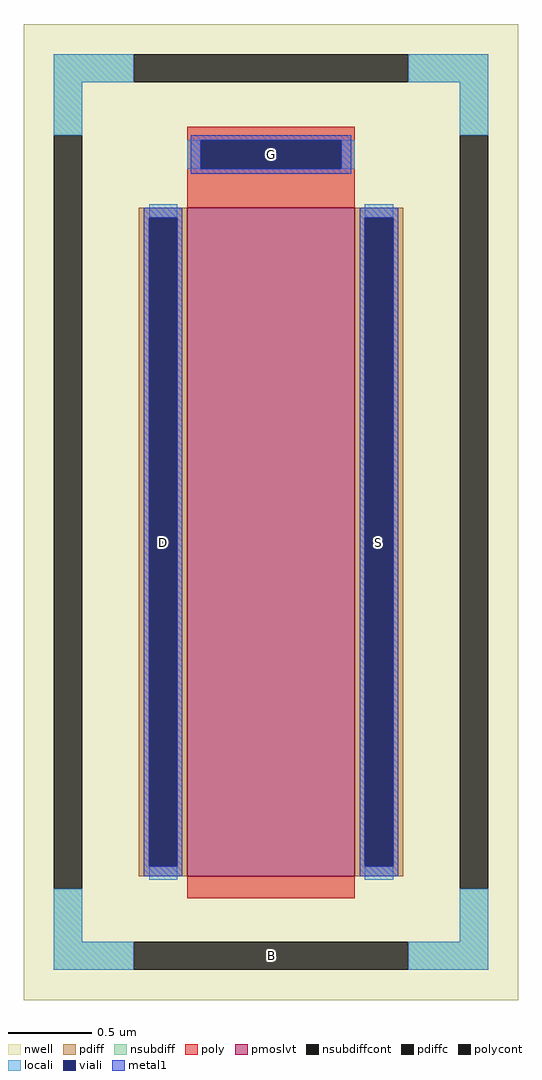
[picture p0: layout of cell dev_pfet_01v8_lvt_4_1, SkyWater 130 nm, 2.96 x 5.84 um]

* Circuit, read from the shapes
.subckt dev_pfet_01v8_lvt_4_1 B D S G
XM1 S G D B sky130_fd_pr__pfet_01v8_lvt w=4 l=1
.ends

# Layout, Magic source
magic
tech sky130A
magscale 1 2
<< nwell >>
rect -296 -584 296 584
<< pmoslvt >>
rect -100 -436 100 364
<< pdiff >>
rect -158 352 -100 364
rect -158 -424 -146 352
rect -112 -424 -100 352
rect -158 -436 -100 -424
rect 100 352 158 364
rect 100 -424 112 352
rect 146 -424 158 352
rect 100 -436 158 -424
<< pdiffc >>
rect -146 -424 -112 352
rect 112 -424 146 352
<< nsubdiff >>
rect -260 514 -164 548
rect 164 514 260 548
rect -260 451 -226 514
rect 226 451 260 514
rect -260 -514 -226 -451
rect 226 -514 260 -451
rect -260 -548 -164 -514
rect 164 -548 260 -514
<< nsubdiffcont >>
rect -164 514 164 548
rect -260 -451 -226 451
rect 226 -451 260 451
rect -164 -548 164 -514
<< poly >>
rect -100 445 100 461
rect -100 411 -84 445
rect 84 411 100 445
rect -100 364 100 411
rect -100 -462 100 -436
<< polycont >>
rect -84 411 84 445
<< locali >>
rect -260 514 -164 548
rect 164 514 260 548
rect -260 451 -226 514
rect 226 451 260 514
rect -100 411 -84 445
rect 84 411 100 445
rect -146 352 -112 368
rect -146 -440 -112 -424
rect 112 352 146 368
rect 112 -440 146 -424
rect -260 -514 -226 -451
rect 226 -514 260 -451
rect -260 -548 -164 -514
rect 164 -548 260 -514
<< viali >>
rect -84 411 84 445
rect -146 -424 -112 352
rect 112 -424 146 352
<< metal1 >>
rect -96 445 96 451
rect -96 411 -84 445
rect 84 411 96 445
rect -96 405 96 411
rect -152 352 -106 364
rect -152 -424 -146 352
rect -112 -424 -106 352
rect -152 -436 -106 -424
rect 106 352 152 364
rect 106 -424 112 352
rect 146 -424 152 352
rect 106 -436 152 -424
<< labels >>
rlabel nsubdiffcont 0 -531 0 -531 0 B
port 1 nsew
rlabel pdiffc -129 -36 -129 -36 0 D
port 2 nsew
rlabel pdiffc 129 -36 129 -36 0 S
port 3 nsew
rlabel polycont 0 428 0 428 0 G
port 4 nsew
<< properties >>
string FIXED_BBOX -243 -531 243 531
<< end >>
